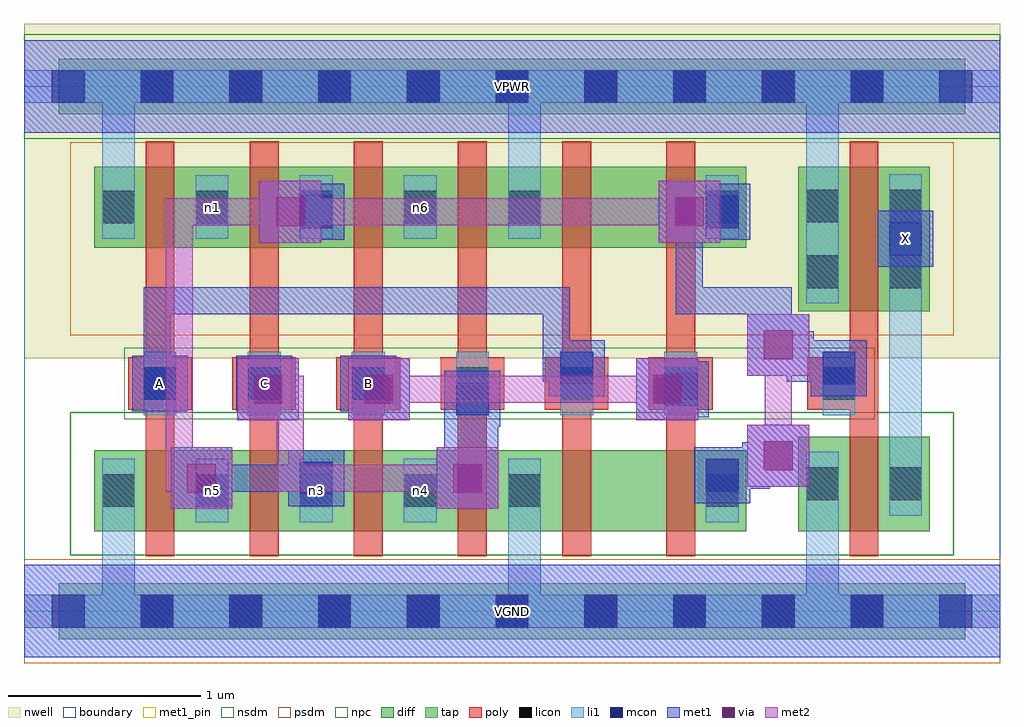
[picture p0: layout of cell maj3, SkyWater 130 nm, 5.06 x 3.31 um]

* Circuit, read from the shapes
.subckt maj3 A B C VGND VPWR X n1 n3 n4 n5 n6
XM1 n5 A VGND VGND sky130_fd_pr__nfet_01v8 w=0.42 l=0.15
XM2 n3 C n5 VGND sky130_fd_pr__nfet_01v8 w=0.42 l=0.15
XM3 n4 B n3 VGND sky130_fd_pr__nfet_01v8 w=0.42 l=0.15
XM4 VGND C n4 VGND sky130_fd_pr__nfet_01v8 w=0.42 l=0.15
XM5 n2 A VGND VGND sky130_fd_pr__nfet_01v8 w=0.42 l=0.15
XM6 n3 B n2 VGND sky130_fd_pr__nfet_01v8 w=0.42 l=0.15
XM7 X n3 VGND VGND sky130_fd_pr__nfet_01v8 w=0.49 l=0.15
XM8 n1 A VPWR VPWR sky130_fd_pr__pfet_01v8 w=0.42 l=0.15
XM9 n3 C n1 VPWR sky130_fd_pr__pfet_01v8 w=0.42 l=0.15
XM10 n6 B n3 VPWR sky130_fd_pr__pfet_01v8 w=0.42 l=0.15
XM11 VPWR C n6 VPWR sky130_fd_pr__pfet_01v8 w=0.42 l=0.15
XM12 n7 A VPWR VPWR sky130_fd_pr__pfet_01v8 w=0.42 l=0.15
XM13 n3 B n7 VPWR sky130_fd_pr__pfet_01v8 w=0.42 l=0.15
XM14 X n3 VPWR VPWR sky130_fd_pr__pfet_01v8 w=0.75 l=0.15
.ends

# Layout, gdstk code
import gdstk
lib = gdstk.Library(unit=1e-6, precision=1e-09)
def R(c, l, rs):  # rectangles x0, y0, x1, y1
    for r in rs: c.add(gdstk.rectangle(r[:2], r[2:], *l))
def A(c, l, x, y, w, h, nx, ny, dx, dy):  # array of equal rectangles
    R(c, l, [(x+i*dx, y+j*dy, x+i*dx+w, y+j*dy+h) for i in range(nx) for j in range(ny)])
nwell = (64, 20)
diff = (65, 20)
tap = (65, 44)
poly = (66, 20)
licon = (66, 44)
li1 = (67, 20)
mcon = (67, 44)
met1_pin = (68, 16)
met1 = (68, 20)
via = (68, 44)
met2 = (69, 20)
nsdm = (93, 44)
psdm = (94, 20)
npc = (95, 20)
boundary = (235, 4)

maj3 = lib.new_cell('maj3')
R(maj3, nwell, [(0,1.31,5.06,3.045)])
R(maj3, diff, [(0.365,0.415,3.745,0.835), (4.015,0.415,4.695,0.905), (4.015,1.555,4.695,2.305), (0.365,1.885,3.745,2.305)])
R(maj3, tap, [(0.18,-0.145,4.88,0.145), (0.18,2.575,4.88,2.865)])
A(maj3, poly, 0.63, 0.285, 0.15, 2.15, 6, 1, 0.54, 0)
A(maj3, poly, 0.54, 1.045, 0.33, 0.27, 6, 1, 0.54, 0)
R(maj3, poly, [(4.28,0.285,4.43,2.435), (4.06,1.045,4.39,1.315)])
A(maj3, licon, 0.605, -0.085, 0.17, 0.17, 9, 2, 0.46, 2.72)
A(maj3, licon, 0.89, 0.54, 0.17, 0.17, 4, 2, 0.54, 1.47)
A(maj3, licon, 0.62, 1.095, 0.17, 0.17, 6, 1, 0.54, 0)
R(maj3, licon, [(0.405,0.54,0.575,0.71), (3.535,0.54,3.705,0.71), (4.055,0.575,4.225,0.745), (4.485,0.575,4.655,0.745), (4.14,1.095,4.31,1.265), (4.055,1.675,4.225,1.845), (4.485,1.675,4.655,1.845), (0.405,2.01,0.575,2.18), (3.535,2.01,3.705,2.18), (4.055,2.015,4.225,2.185), (4.485,2.015,4.655,2.185)])
A(maj3, li1, 0.89, 0.46, 0.17, 0.33, 4, 2, 0.54, 1.47)
A(maj3, li1, 0.62, 1.015, 0.17, 0.33, 6, 1, 0.54, 0)
R(maj3, li1, [(0,-0.085,5.06,0.085), (0.405,-0.085,0.575,0.79), (2.51,-0.085,2.68,0.79), (4.055,-0.085,4.225,0.825), (0.405,0.46,0.575,0.79), (3.535,0.46,3.705,0.79), (4.055,0.495,4.225,0.825), (4.485,0.495,4.655,0.825), (4.485,0.495,4.655,2.265), (4.14,1.015,4.31,1.345), (4.055,1.595,4.225,2.265), (4.055,1.595,4.225,2.805), (4.485,1.595,4.655,2.265), (0.405,1.93,0.575,2.26), (0.405,1.93,0.575,2.805), (2.51,1.93,2.68,2.805), (3.535,1.93,3.705,2.26), (0,2.635,5.06,2.805)])
A(maj3, mcon, 0.145, -0.085, 0.17, 0.17, 11, 2, 0.46, 2.72)
A(maj3, mcon, 0.62, 1.095, 0.17, 0.17, 3, 1, 0.54, 0)
R(maj3, mcon, [(1.43,0.605,1.6,0.775), (3.535,0.62,3.705,0.79), (2.24,1.015,2.41,1.185), (3.32,1.065,3.49,1.235), (2.78,1.175,2.95,1.345), (4.14,1.175,4.31,1.345), (4.485,1.845,4.655,2.015), (1.43,1.985,1.6,2.155), (3.535,1.985,3.705,2.155)])
A(maj3, met1_pin, 0.56, 1.035, 0.29, 0.29, 3, 1, 0.54, 0)
R(maj3, met1_pin, [(0,-0.24,5.06,0.24), (4.425,1.785,4.715,2.075), (0,2.48,5.06,2.96)])
A(maj3, met1, 0.56, 1.035, 0.29, 0.29, 3, 1, 0.54, 0)
A(maj3, met1, 0.62, 1.08, 0.14, 0.14, 3, 1, 0.575, 0)
R(maj3, met1, [(0,-0.24,5.06,0.24), (0.76,0.53,1.08,0.85), (2.14,0.53,2.46,0.85), (1.37,0.545,1.66,0.835), (3.475,0.56,3.765,0.85), (0.85,0.62,1.45,0.76), (1.31,0.62,1.585,0.76), (2.23,0.62,2.37,0.99), (3.55,0.635,3.865,0.775), (3.725,0.635,3.865,0.875), (3.75,0.645,4.07,0.965), (3.725,0.735,3.98,0.875), (2.18,0.85,2.46,0.955), (2.23,0.85,2.37,1.17), (2.18,0.955,2.47,1.245), (1.105,0.99,1.425,1.31), (1.68,0.99,2,1.31), (3.175,0.99,3.495,1.31), (3.26,1.005,3.55,1.295), (2.23,1.03,2.395,1.17), (0.62,1.08,0.76,1.68), (3.265,1.08,3.475,1.22), (2.72,1.115,3.01,1.405), (4.08,1.115,4.37,1.405), (2.69,1.19,2.935,1.33), (2.69,1.19,2.83,1.45), (3.955,1.19,4.095,1.45), (3.955,1.19,4.295,1.33), (3.75,1.22,4.07,1.54), (2.69,1.31,2.83,1.68), (3.84,1.31,3.98,1.68), (3.84,1.31,4.095,1.45), (0.62,1.54,2.83,1.68), (3.38,1.54,3.52,2.14), (3.38,1.54,3.98,1.68), (4.425,1.785,4.715,2.075), (1.22,1.91,1.54,2.23), (3.29,1.91,3.61,2.23), (1.37,1.925,1.66,2.215), (3.475,1.925,3.765,2.215), (1.31,2,1.585,2.14), (3.38,2,3.69,2.14), (0,2.48,5.06,2.96)])
R(maj3, via, [(0.845,0.615,0.995,0.765), (2.225,0.615,2.375,0.765), (3.835,0.73,3.985,0.88), (1.19,1.075,1.34,1.225), (1.765,1.075,1.915,1.225), (3.26,1.075,3.41,1.225), (3.835,1.305,3.985,1.455), (1.305,1.995,1.455,2.145), (3.375,1.995,3.525,2.145)])
R(maj3, met2, [(0.76,0.53,1.08,0.85), (2.14,0.53,2.46,0.85), (0.735,0.62,0.99,0.76), (0.735,0.62,0.875,2.14), (1.31,0.62,1.45,1.22), (1.31,0.62,2.37,0.76), (3.75,0.645,4.07,0.965), (3.84,0.735,3.98,1.45), (1.105,0.99,1.425,1.31), (1.68,0.99,2,1.31), (3.175,0.99,3.495,1.31), (1.195,1.08,1.45,1.22), (1.77,1.08,3.405,1.22), (3.75,1.22,4.07,1.54), (1.22,1.91,1.54,2.23), (3.29,1.91,3.61,2.23), (0.735,2,1.45,2.14), (1.31,2,3.52,2.14)])
R(maj3, nsdm, [(0.24,0.29,4.82,1.03), (0,2.45,5.06,2.99)])
R(maj3, psdm, [(0,-0.27,5.06,0.27), (0.24,1.43,4.82,2.43)])
R(maj3, npc, [(0.52,0.995,4.41,1.365)])
R(maj3, boundary, [(0,0,5.06,2.72)])
maj3.add(gdstk.Label('n5', (0.975,0.625), layer=67, texttype=5))
maj3.add(gdstk.Label('n3', (1.515,0.625), layer=67, texttype=5))
maj3.add(gdstk.Label('n4', (2.055,0.625), layer=67, texttype=5))
maj3.add(gdstk.Label('n1', (0.975,2.095), layer=67, texttype=5))
maj3.add(gdstk.Label('n6', (2.055,2.095), layer=67, texttype=5))
maj3.add(gdstk.Label('A', (0.705,1.18), layer=68, texttype=5))
maj3.add(gdstk.Label('B', (1.785,1.18), layer=68, texttype=5))
maj3.add(gdstk.Label('C', (1.245,1.18), layer=68, texttype=5))
maj3.add(gdstk.Label('X', (4.57,1.93), layer=68, texttype=5))
maj3.add(gdstk.Label('VPWR', (2.53,2.72), layer=68, texttype=5))
maj3.add(gdstk.Label('VGND', (2.53,0), layer=68, texttype=5))
maj3.add(gdstk.Label('A', (0.705,1.18), layer=68, texttype=16))
maj3.add(gdstk.Label('B', (1.785,1.18), layer=68, texttype=16))
maj3.add(gdstk.Label('C', (1.245,1.18), layer=68, texttype=16))
maj3.add(gdstk.Label('X', (4.57,1.93), layer=68, texttype=16))
maj3.add(gdstk.Label('VPWR', (2.53,2.72), layer=68, texttype=16))
maj3.add(gdstk.Label('VGND', (2.53,0), layer=68, texttype=16))

lib.write_gds('maj3.gds')
